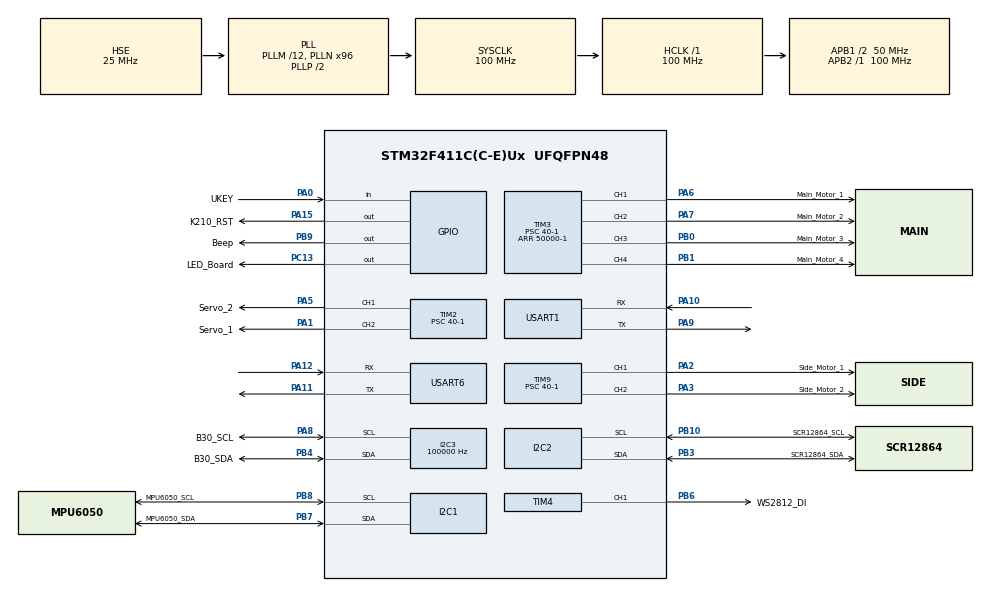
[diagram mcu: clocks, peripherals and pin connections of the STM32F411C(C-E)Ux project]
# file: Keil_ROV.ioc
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ADC1.Channel-5\#ChannelRegularConversion=ADC_CHANNEL_VREFINT
ADC1.NbrOfConversionFlag=1
ADC1.Rank-5\#ChannelRegularConversion=1
ADC1.SamplingTime-5\#ChannelRegularConversion=ADC_SAMPLETIME_3CYCLES
ADC1.master=1
Dma.I2C2_TX.3.Direction=DMA_MEMORY_TO_PERIPH
Dma.I2C2_TX.3.FIFOMode=DMA_FIFOMODE_DISABLE
Dma.I2C2_TX.3.Instance=DMA1_Stream7
Dma.I2C2_TX.3.MemDataAlignment=DMA_MDATAALIGN_BYTE
Dma.I2C2_TX.3.MemInc=DMA_MINC_ENABLE
Dma.I2C2_TX.3.Mode=DMA_NORMAL
Dma.I2C2_TX.3.PeriphDataAlignment=DMA_PDATAALIGN_BYTE
Dma.I2C2_TX.3.PeriphInc=DMA_PINC_DISABLE
Dma.I2C2_TX.3.Priority=DMA_PRIORITY_LOW
Dma.Request0=USART1_RX
Dma.Request1=USART1_TX
Dma.Request2=TIM4_CH1
Dma.Request3=I2C2_TX
Dma.TIM4_CH1.2.Direction=DMA_MEMORY_TO_PERIPH
Dma.TIM4_CH1.2.FIFOMode=DMA_FIFOMODE_DISABLE
Dma.TIM4_CH1.2.Instance=DMA1_Stream0
Dma.TIM4_CH1.2.MemDataAlignment=DMA_MDATAALIGN_HALFWORD
Dma.TIM4_CH1.2.MemInc=DMA_MINC_ENABLE
Dma.TIM4_CH1.2.Mode=DMA_NORMAL
Dma.TIM4_CH1.2.PeriphDataAlignment=DMA_PDATAALIGN_HALFWORD
Dma.TIM4_CH1.2.PeriphInc=DMA_PINC_DISABLE
Dma.TIM4_CH1.2.Priority=DMA_PRIORITY_LOW
Dma.USART1_RX.0.Direction=DMA_PERIPH_TO_MEMORY
Dma.USART1_RX.0.FIFOMode=DMA_FIFOMODE_DISABLE
Dma.USART1_RX.0.Instance=DMA2_Stream2
Dma.USART1_RX.0.MemDataAlignment=DMA_MDATAALIGN_BYTE
Dma.USART1_RX.0.MemInc=DMA_MINC_ENABLE
Dma.USART1_RX.0.Mode=DMA_NORMAL
Dma.USART1_RX.0.PeriphDataAlignment=DMA_PDATAALIGN_BYTE
Dma.USART1_RX.0.PeriphInc=DMA_PINC_DISABLE
Dma.USART1_RX.0.Priority=DMA_PRIORITY_LOW
Dma.USART1_TX.1.Direction=DMA_MEMORY_TO_PERIPH
Dma.USART1_TX.1.FIFOMode=DMA_FIFOMODE_DISABLE
Dma.USART1_TX.1.Instance=DMA2_Stream7
Dma.USART1_TX.1.MemDataAlignment=DMA_MDATAALIGN_BYTE
Dma.USART1_TX.1.MemInc=DMA_MINC_ENABLE
Dma.USART1_TX.1.Mode=DMA_NORMAL
Dma.USART1_TX.1.PeriphDataAlignment=DMA_PDATAALIGN_BYTE
Dma.USART1_TX.1.PeriphInc=DMA_PINC_DISABLE
Dma.USART1_TX.1.Priority=DMA_PRIORITY_LOW
FREERTOS.Tasks01=led_Task,23,128,LED_Task,As weak,NULL,Dynamic,NULL,NULL;ukey_Task,24,128,UKEY_Task,As external,NULL,Dynamic,NULL,NULL;mpu6050_task,25,128,MPU6050_Task,As external,NULL,Dynamic,NULL,NULL;oled_task,24,128,OLED_Task,As external,NULL,Dynamic,NULL,NULL;beep_task,24,128,BEEP_Task,As external,NULL,Dynamic,NULL,NULL;ms5837_read_tas,24,128,MS5837_Read_Task,As external,NULL,Dynamic,NULL,NULL;move_task,24,128,Move_Task,As external,NULL,Dynamic,NULL,NULL;turn_check_task,24,128,Turn_Check_Task,As external,NULL,Dynamic,NULL,NULL;ws2812_task,24,128,WS2812_Task,As external,NULL,Dynamic,NULL,NULL
I2C1.I2C_Mode=I2C_Fast
I2C2.I2C_Mode=I2C_Fast
I2C3.ClockSpeed=100000
I2C3.I2C_Mode=I2C_Standard
Mcu.Family=STM32F4
Mcu.Name=STM32F411C(C-E)Ux
Mcu.Package=UFQFPN48
NVIC.DMA1_Stream0_IRQn=true\:5\:0\:false\:false\:true\:true\:false\:true\:true
NVIC.DMA1_Stream7_IRQn=true\:5\:0\:false\:false\:true\:true\:false\:true\:true
NVIC.DMA2_Stream2_IRQn=true\:5\:0\:false\:false\:true\:true\:false\:true\:true
NVIC.DMA2_Stream7_IRQn=true\:5\:0\:false\:false\:true\:true\:false\:true\:true
NVIC.I2C2_EV_IRQn=true\:5\:0\:false\:false\:true\:true\:true\:true\:true
NVIC.PriorityGroup=NVIC_PRIORITYGROUP_4
NVIC.TIM1_TRG_COM_TIM11_IRQn=true\:0\:0\:false\:false\:true\:false\:false\:true\:true
NVIC.TimeBase=TIM1_TRG_COM_TIM11_IRQn
NVIC.TimeBaseIP=TIM11
NVIC.USART1_IRQn=true\:5\:0\:false\:false\:true\:true\:true\:true\:true
NVIC.USART6_IRQn=true\:5\:0\:false\:false\:true\:true\:true\:true\:true
PA0-WKUP.GPIO_Label=UKEY
PA0-WKUP.GPIO_PuPd=GPIO_PULLUP
PA0-WKUP.Signal=GPIO_Input
PA1.GPIO_Label=Servo_1
PA1.Signal=S_TIM2_CH2
PA10.Mode=Asynchronous
PA10.Signal=USART1_RX
PA11.Mode=Asynchronous
PA11.Signal=USART6_TX
PA12.Mode=Asynchronous
PA12.Signal=USART6_RX
PA13.Mode=Serial_Wire
PA13.Signal=SYS_JTMS-SWDIO
PA14.Mode=Serial_Wire
PA14.Signal=SYS_JTCK-SWCLK
PA15.GPIO_Label=K210_RST
PA15.Signal=GPIO_Output
PA2.GPIO_Label=Side_Motor_1
PA2.Signal=S_TIM9_CH1
PA3.GPIO_Label=Side_Motor_2
PA3.Signal=S_TIM9_CH2
PA5.GPIO_Label=Servo_2
PA5.Signal=S_TIM2_CH1_ETR
PA6.GPIO_Label=Main_Motor_1
PA6.Signal=S_TIM3_CH1
PA7.GPIO_Label=Main_Motor_2
PA7.Signal=S_TIM3_CH2
PA8.GPIO_Label=B30_SCL
PA8.Mode=I2C
PA8.Signal=I2C3_SCL
PA9.Mode=Asynchronous
PA9.Signal=USART1_TX
PB0.GPIO_Label=Main_Motor_3
PB0.Signal=S_TIM3_CH3
PB1.GPIO_Label=Main_Motor_4
PB1.Signal=S_TIM3_CH4
PB10.GPIO_Label=SCR12864_SCL
PB10.Mode=I2C
PB10.Signal=I2C2_SCL
PB3.GPIO_Label=SCR12864_SDA
PB3.Mode=I2C
PB3.Signal=I2C2_SDA
PB4.GPIO_Label=B30_SDA
PB4.Mode=I2C
PB4.Signal=I2C3_SDA
PB6.GPIO_Label=WS2812_DI
PB6.GPIO_Speed=GPIO_SPEED_FREQ_VERY_HIGH
PB6.Signal=S_TIM4_CH1
PB7.GPIO_Label=MPU6050_SDA
PB7.Mode=I2C
PB7.Signal=I2C1_SDA
PB8.GPIO_Label=MPU6050_SCL
PB8.Mode=I2C
PB8.Signal=I2C1_SCL
PB9.GPIO_Label=Beep
PB9.GPIO_ModeDefaultOutputPP=GPIO_MODE_OUTPUT_OD
PB9.PinState=GPIO_PIN_SET
PB9.Signal=GPIO_Output
PC13-ANTI_TAMP.GPIO_Label=LED_Board
PC13-ANTI_TAMP.Signal=GPIO_Output
PH0\ -\ OSC_IN.Mode=HSE-External-Oscillator
PH0\ -\ OSC_IN.Signal=RCC_OSC_IN
PH1\ -\ OSC_OUT.Mode=HSE-External-Oscillator
PH1\ -\ OSC_OUT.Signal=RCC_OSC_OUT
ProjectManager.HeapSize=0x200
ProjectManager.StackSize=0x400
ProjectManager.TargetToolchain=MDK-ARM V5.27
RCC.48MHZClocksFreq_Value=50000000
RCC.AHBFreq_Value=100000000
RCC.APB1CLKDivider=RCC_HCLK_DIV2
RCC.APB1Freq_Value=50000000
RCC.APB1TimFreq_Value=100000000
RCC.APB2Freq_Value=100000000
RCC.APB2TimFreq_Value=100000000
RCC.CortexFreq_Value=100000000
RCC.HCLKFreq_Value=100000000
RCC.HSE_VALUE=25000000
RCC.HSI_VALUE=16000000
RCC.LSE_VALUE=32768
RCC.PLLM=12
RCC.PLLN=96
RCC.PLLSourceVirtual=RCC_PLLSOURCE_HSE
RCC.SYSCLKFreq_VALUE=100000000
RCC.SYSCLKSource=RCC_SYSCLKSOURCE_PLLCLK
RCC.VCOOutputFreq_Value=200000000
SH.S_TIM2_CH1_ETR.0=TIM2_CH1,PWM Generation1 CH1
SH.S_TIM2_CH2.0=TIM2_CH2,PWM Generation2 CH2
SH.S_TIM3_CH1.0=TIM3_CH1,PWM Generation1 CH1
SH.S_TIM3_CH2.0=TIM3_CH2,PWM Generation2 CH2
SH.S_TIM3_CH3.0=TIM3_CH3,PWM Generation3 CH3
SH.S_TIM3_CH4.0=TIM3_CH4,PWM Generation4 CH4
SH.S_TIM4_CH1.0=TIM4_CH1,PWM Generation1 CH1
SH.S_TIM9_CH1.0=TIM9_CH1,PWM Generation1 CH1
SH.S_TIM9_CH2.0=TIM9_CH2,PWM Generation2 CH2
TIM2.Channel-PWM\ Generation1\ CH1=TIM_CHANNEL_1
TIM2.Channel-PWM\ Generation2\ CH2=TIM_CHANNEL_2
TIM2.Period=50000-1
TIM2.Prescaler=40-1
TIM2.Pulse-PWM\ Generation1\ CH1=3750
TIM2.Pulse-PWM\ Generation2\ CH2=3750
TIM3.Channel-PWM\ Generation1\ CH1=TIM_CHANNEL_1
TIM3.Channel-PWM\ Generation2\ CH2=TIM_CHANNEL_2
TIM3.Channel-PWM\ Generation3\ CH3=TIM_CHANNEL_3
TIM3.Channel-PWM\ Generation4\ CH4=TIM_CHANNEL_4
TIM3.Period=50000-1
TIM3.Prescaler=40-1
TIM3.Pulse-PWM\ Generation1\ CH1=3750
TIM3.Pulse-PWM\ Generation2\ CH2=3750
TIM3.Pulse-PWM\ Generation3\ CH3=3750
TIM3.Pulse-PWM\ Generation4\ CH4=3750
TIM4.Channel-PWM\ Generation1\ CH1=TIM_CHANNEL_1
TIM4.OCMode_PWM-PWM\ Generation1\ CH1=TIM_OCMODE_PWM2
TIM4.OCPolarity_1=TIM_OCPOLARITY_LOW
TIM4.Period=125-1
TIM9.Channel-PWM\ Generation1\ CH1=TIM_CHANNEL_1
TIM9.Channel-PWM\ Generation2\ CH2=TIM_CHANNEL_2
TIM9.Period=50000-1
TIM9.Prescaler=40-1
TIM9.Pulse-PWM\ Generation1\ CH1=3750
TIM9.Pulse-PWM\ Generation2\ CH2=3750
USART1.VirtualMode=VM_ASYNC
USART6.VirtualMode=VM_ASYNC
VP_ADC1_TempSens_Input.Mode=IN-TempSens
VP_ADC1_Vref_Input.Mode=IN-Vrefint
VP_FREERTOS_VS_CMSIS_V2.Mode=CMSIS_V2
VP_SYS_VS_tim11.Mode=TIM11
VP_TIM4_VS_ClockSourceINT.Mode=Internal
board=custom

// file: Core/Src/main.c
/* USER CODE BEGIN Header */
/**
  ******************************************************************************
  * @file           : main.c
  * @brief          : Main program body
  ******************************************************************************
  * @attention
  *
  * <h2><center>&copy; Copyright (c) 2021 STMicroelectronics.
  * All rights reserved.</center></h2>
  *
  * This software component is licensed by ST under Ultimate Liberty license
  * SLA0044, the "License"; You may not use this file except in compliance with
  * the License. You may obtain a copy of the License at:
  *                             www.st.com/SLA0044
  *
  ******************************************************************************
  */
/* USER CODE END Header */
#include "main.h"
#include "cmsis_os.h"
#include "adc.h"
#include "dma.h"
#include "i2c.h"
#include "tim.h"
#include "usart.h"
#include "gpio.h"

/* USER CODE BEGIN Includes */
#include <string.h>
#include <stdlib.h>
#include "../ESC/ESC.h"
#include "../MS5837/ms5837.h"
#include "../Verfint_ADC/Verfint_ADC.h"
#include "../Delay/Delay.h"
#include "../OLED_DMA/draw_api.h"
#include "../OLED_DMA/oled_myapp.h"
#include "../WS2812/WS2812.h"
#include "../Range2Percentage/Range2Percentage.h"
#include "../UART_DMA/UART_DMA.h"
#include "../MPU6050/mpu6050.h"
#include "../MPU6050/eMPL/inv_mpu.h"

/* USER CODE END Includes */

void SystemClock_Config(void);
void MX_FREERTOS_Init(void);

int main(void)
{

  /* MCU Configuration--------------------------------------------------------*/

  /* Reset of all peripherals, Initializes the Flash interface and the Systick. */
  HAL_Init();

  /* Configure the system clock */
  SystemClock_Config();

  /* Initialize all configured peripherals */
  MX_GPIO_Init();
  MX_DMA_Init();
  MX_TIM9_Init();
  MX_I2C3_Init();
  MX_TIM3_Init();
  MX_I2C1_Init();
  MX_USART1_UART_Init();
  MX_I2C2_Init();
  MX_ADC1_Init();
  MX_USART6_UART_Init();
  MX_TIM2_Init();
  MX_TIM4_Init();
  /* USER CODE BEGIN 2 */
  delay_init();
  StartUartRxDMA();

__HAL_TIM_SetCompare(&htim2, TIM_CHANNEL_1, 4500);
__HAL_TIM_SetCompare(&htim2, TIM_CHANNEL_2, 2500);
  HAL_TIM_PWM_Start(&htim2, TIM_CHANNEL_1);
  HAL_TIM_PWM_Start(&htim2, TIM_CHANNEL_2);

	while(MPU_Init());
	while(mpu_dmp_init())
	{
		delay_ms(200);
	}

/*
  HAL_TIM_PWM_Start(&htim2, TIM_CHANNEL_1);
  HAL_TIM_PWM_Start(&htim2, TIM_CHANNEL_2);

  while(1)
  {
	__HAL_TIM_SetCompare(&htim2, TIM_CHANNEL_1, 7500 - Servo_PWM);	//5000 -
	__HAL_TIM_SetCompare(&htim2, TIM_CHANNEL_2, Servo_PWM);			//2500 - 4500
	HAL_Delay(5);
  }
*/
  InitGraph();
//while(1)
//{
HAL_Delay(5);
  DrawString(0, 0,"Pitch:");
  DrawString(2, 0,"Roll :");
  DrawString(4, 0,"Yaw  :");
  DrawString(6, 0,"Press:");
  UpdateScreen();
//	HAL_Delay(5);
//}

  WS_WriteAll_RGB(0, 0, 0);

//  MPU6050_initialize();
//  DMP_Init();

  Get_Vrefint_Proportion();
  Get_Temprate();

  MS5837_init(&MS5837_HI2C);

  /* USER CODE END 2 */

  /* Init scheduler */
  osKernelInitialize();  /* Call init function for freertos objects (in freertos.c) */
  MX_FREERTOS_Init();
  /* Start scheduler */
  osKernelStart();

  /* We should never get here as control is now taken by the scheduler */
  /* Infinite loop */
  while (1)
  {

  }
}

void SystemClock_Config(void)
{
  RCC_OscInitTypeDef RCC_OscInitStruct = {0};
  RCC_ClkInitTypeDef RCC_ClkInitStruct = {0};

  /** Configure the main internal regulator output voltage
  */
  __HAL_RCC_PWR_CLK_ENABLE();
  __HAL_PWR_VOLTAGESCALING_CONFIG(PWR_REGULATOR_VOLTAGE_SCALE1);
  /** Initializes the RCC Oscillators according to the specified parameters
  * in the RCC_OscInitTypeDef structure.
  */
  RCC_OscInitStruct.OscillatorType = RCC_OSCILLATORTYPE_HSE;
  RCC_OscInitStruct.HSEState = RCC_HSE_ON;
  RCC_OscInitStruct.PLL.PLLState = RCC_PLL_ON;
  RCC_OscInitStruct.PLL.PLLSource = RCC_PLLSOURCE_HSE;
  RCC_OscInitStruct.PLL.PLLM = 12;
  RCC_OscInitStruct.PLL.PLLN = 96;
  RCC_OscInitStruct.PLL.PLLP = RCC_PLLP_DIV2;
  RCC_OscInitStruct.PLL.PLLQ = 4;
  if (HAL_RCC_OscConfig(&RCC_OscInitStruct) != HAL_OK)
  {
    Error_Handler();
  }
  /** Initializes the CPU, AHB and APB buses clocks
  */
  RCC_ClkInitStruct.ClockType = RCC_CLOCKTYPE_HCLK|RCC_CLOCKTYPE_SYSCLK
                              |RCC_CLOCKTYPE_PCLK1|RCC_CLOCKTYPE_PCLK2;
  RCC_ClkInitStruct.SYSCLKSource = RCC_SYSCLKSOURCE_PLLCLK;
  RCC_ClkInitStruct.AHBCLKDivider = RCC_SYSCLK_DIV1;
  RCC_ClkInitStruct.APB1CLKDivider = RCC_HCLK_DIV2;
  RCC_ClkInitStruct.APB2CLKDivider = RCC_HCLK_DIV1;

  if (HAL_RCC_ClockConfig(&RCC_ClkInitStruct, FLASH_LATENCY_3) != HAL_OK)
  {
    Error_Handler();
  }
}

 /**
  * @brief  Period elapsed callback in non blocking mode
  * @note   This function is called  when TIM11 interrupt took place, inside
  * HAL_TIM_IRQHandler(). It makes a direct call to HAL_IncTick() to increment
  * a global variable "uwTick" used as application time base.
  * @param  htim : TIM handle
  * @retval None
  */
void HAL_TIM_PeriodElapsedCallback(TIM_HandleTypeDef *htim)
{
  if (htim->Instance == TIM11) {
    HAL_IncTick();
  }
}

void Error_Handler(void)
{
  __disable_irq();
  while (1)
  {
  }
}

/************************ (C) COPYRIGHT STMicroelectronics *****END OF FILE****/
